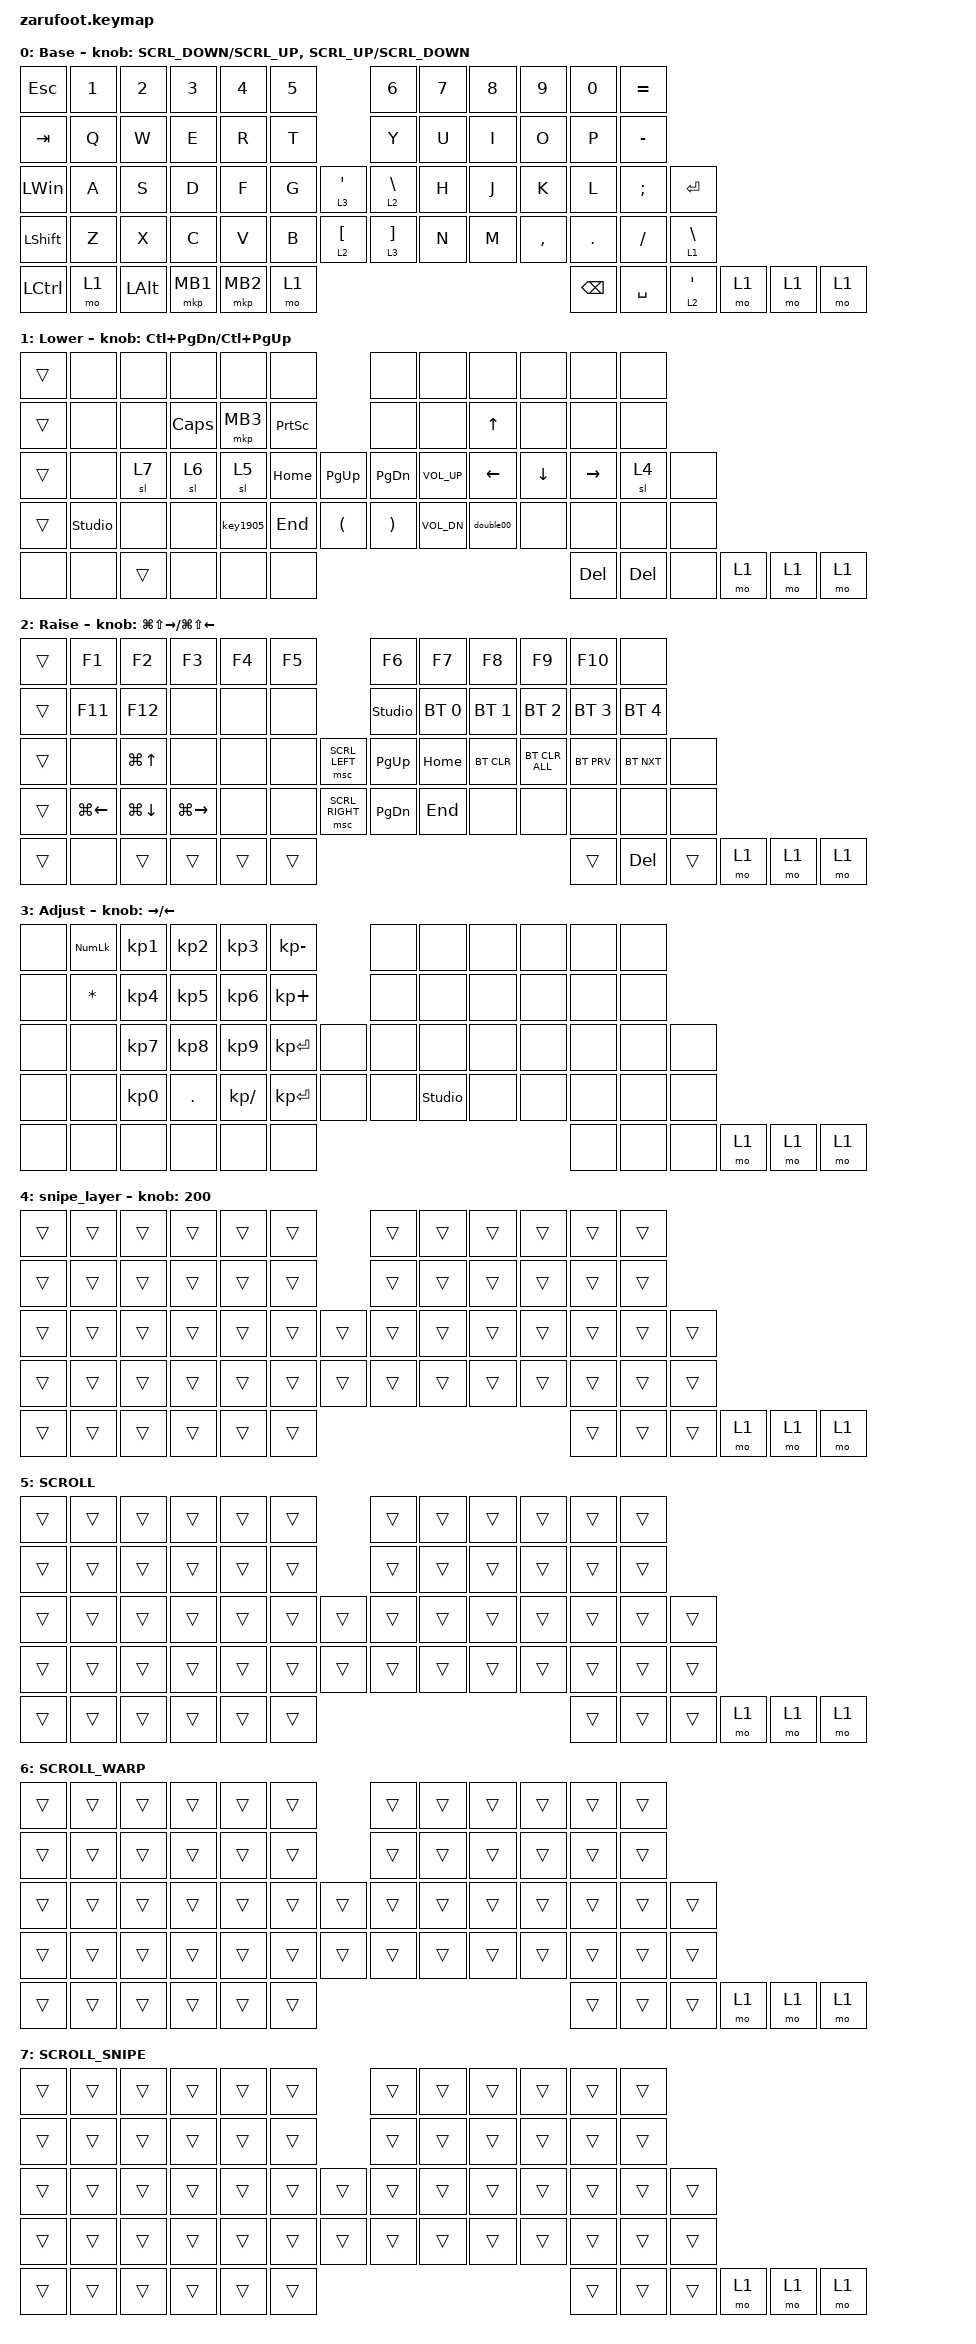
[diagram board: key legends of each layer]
#include <physical_layouts.dtsi>

#define ZMK_POINTING_DEFAULT_MOVE_VAL 800
#define ZMK_POINTING_DEFAULT_SCRL_VAL 120

#include <zephyr/dt-bindings/input/input-event-codes.h>
#include <input/processors.dtsi>
#include <behaviors.dtsi>
#include <dt-bindings/zmk/bt.h>
#include <dt-bindings/zmk/keys.h>
#include <dt-bindings/zmk/pointing.h>

#define BASE 0
#define SNIPE 4
#define SCROLL 5
#define SCROLL_WARP 6
#define SCROLL_SNIPE 7
&mmv {
    delay-ms = <0>;
    trigger-period-ms = <10>;
    time-to-max-speed-ms = <0>;
    acceleration-exponent = <1>;
};

&msc {
    delay-ms = <0>;
    trigger-period-ms = <10>;
    time-to-max-speed-ms = <0>;
    acceleration-exponent = <0>;
};

/ {
    input_processors {
        zip_wheel_scaler: zip_wheel_scaler {
            compatible = "zmk,input-processor-scaler";
            #input-processor-cells = <2>;
            type = <INPUT_EV_REL>;
            codes = <INPUT_REL_WHEEL>;
            track-remainders;
        };

        zip_hwheel_scaler: zip_hwheel_scaler {
            compatible = "zmk,input-processor-scaler";
            #input-processor-cells = <2>;
            type = <INPUT_EV_REL>;
            codes = <INPUT_REL_HWHEEL>;
            track-remainders;
        };

        /* --- 変更点 --- */
        // CONFIG_PMW3610_INVERT_SCROLL_X=y (水平スクロール反転) を
        // 実装するためのプロセッサーを追加
        zip_hwheel_invert: zip_hwheel_invert {
            compatible = "zmk,input-processor-invertor";
            #input-processor-cells = <0>;
            type = <INPUT_EV_REL>;
            codes = <INPUT_REL_HWHEEL>; // 水平ホイール(HWHEEL)を反転
        };
    };
};

&msc_input_listener {
    warp {
        layers = <SCROLL_WARP>;
        input-processors = <&zip_wheel_scaler 4 1>, <&zip_hwheel_scaler 4 1>;
    };

    precision {
        layers = <SCROLL_SNIPE>;
        input-processors = <&zip_wheel_scaler 1 4>, <&zip_hwheel_scaler 1 4>;
    };
};

&trackball_listener {
    scroller {
        layers = <SCROLL>;
        input-processors = 
            <&zip_xy_to_scroll_mapper>,
            <&zip_hwheel_invert>; /* --- 変更点: 水平反転を追加 --- */
    };

    scroller_warp {
        layers = <SCROLL_WARP>;
        input-processors =
            <&zip_xy_to_scroll_mapper>,
            <&zip_wheel_scaler 4 1>,
            <&zip_hwheel_scaler 4 1>,
            <&zip_hwheel_invert>; /* --- 変更点: 水平反転を追加 --- */
    };

    scroller_precision {
        layers = <SCROLL_SNIPE>;
        input-processors =
            <&zip_xy_to_scroll_mapper>,
            <&zip_wheel_scaler 1 4>,
            <&zip_hwheel_scaler 1 4>,
            <&zip_hwheel_invert>; /* --- 変更点: 水平反転を追加 --- */
    };
};

/ {
    behaviors {
        td0: tap_dance_0 {
            compatible = "zmk,behavior-tap-dance";
            #binding-cells = <0>;
            tapping-term-ms = <200>;
            bindings = <&mt LALT LANG2>, <&mo 2>, <&mo 0>;
        };

        td1: tap_dance_1 {
            compatible = "zmk,behavior-tap-dance";
            #binding-cells = <0>;
            tapping-term-ms = <200>;
            bindings = <&mt RCTL LANG1>, <&mo 2>, <&mo 0>;
        };

        rot_kp: sensor_rotate_kp {
            compatible = "zmk,behavior-sensor-rotate-var";
            #sensor-binding-cells = <2>;
            bindings = <&kp>, <&kp>;
        };

        mouse_click: mouse_button_kp {
            compatible = "zmk,behavior-sensor-rotate-var";
            #sensor-binding-cells = <2>;
            bindings = <&mkp>, <&mkp>;
        };

        mouse_mv: mouse_cursor_move {
            compatible = "zmk,behavior-sensor-rotate-var";
            #sensor-binding-cells = <2>;
            bindings = <&mmv>, <&mmv>;

            tap-ms = <10>;
        };

        mouse_scrl: mouse_wheel_scrl {
            compatible = "zmk,behavior-sensor-rotate-var";
            #sensor-binding-cells = <2>;
            bindings = <&msc>, <&msc>;

            tap-ms = <10>;
        };
    };
};

&sl { release-after-ms = <250>; }; // time needed for double click (for mkp_exit_AML)
/ {
    macros {
        // When in AML, move to default layer when key (except mouse button) pressed

        to_layer_0: to_layer_0 {
            compatible = "zmk,behavior-macro-one-param";
            #binding-cells = <1>;
            bindings = <&to 0 &macro_param_1to1 &kp MACRO_PLACEHOLDER>;
            label = "TO_layer_0";
        };

        // When LCLK pressed, exit AML (after 250ms cause by sticky layer)

        mkp_exit_AML: mkp_exit_AML {
            compatible = "zmk,behavior-macro-one-param";
            #binding-cells = <1>;
            bindings =
                <&macro_press>,
                <&macro_param_1to1 &mkp MACRO_PLACEHOLDER>,
                <&macro_pause_for_release>,
                <&macro_release>,
                <&macro_param_1to1 &mkp MACRO_PLACEHOLDER>,
                <&macro_tap>,
                <&sl 0>;

            label = "MKP_EXIT_AML";
        };

        // Support swapping into Scroll layer when AML is activated

        to_scroll_layer: to_scroll_layer {
            compatible = "zmk,behavior-macro";
            #binding-cells = <0>;
            bindings =
                <&to 4>,
                <&macro_press>,
                <&mo 4>,
                <&macro_pause_for_release>,
                <&macro_release>,
                <&mo 4>;
        };

        double00: double00 {
            compatible = "zmk,behavior-macro";
            #binding-cells = <0>;
            bindings = <&macro_tap>, <&kp N0 &kp N0>;

            label = "DOUBLE00";
            wait-ms = <0>;
            tap-ms = <0>;
        };

        key1905: key1905 {
            compatible = "zmk,behavior-macro";
            #binding-cells = <0>;
            bindings =
                <&macro_tap>,
                <&kp LC(V) &kp PLUS &kp N1 &kp N9 &kp DOT &kp N0 &kp N5 &kp STAR>;

            label = "KEY1905";
        };
    };
};

/ {
    keymap {
        compatible = "zmk,keymap";

        base_layer {
            display-name = "Base";
            sensor-bindings =
                <&mouse_scrl SCRL_DOWN SCRL_UP>,
                <&mouse_scrl SCRL_UP SCRL_DOWN>;

            bindings = <
&kp ESC      &kp N1  &kp N2  &kp N3       &kp N4    &kp N5                 &kp NUMBER_6       &kp N7     &kp N8  &kp N9     &kp N0   &kp EQUAL
&kp TAB      &kp Q   &kp W   &kp E        &kp R     &kp T                  &kp Y              &kp U      &kp I   &kp O      &kp P    &kp MINUS
&kp LEFT_WIN &kp A   &kp S   &kp D        &kp F     &kp G    &lt 3 SQT      &lt 2 BACKSLASH    &kp H      &kp J   &kp K      &kp L    &kp SEMI     &kp ENTER
&kp LSHFT    &kp Z   &kp X   &kp C        &kp V     &kp B    &lt 2 LEFT_BRACKET &lt 3 RIGHT_BRACKET  &kp N      &kp M   &kp COMMA  &kp DOT  &kp FSLH     &lt 1 BACKSLASH
&kp LCTRL           &mo 1   &kp LEFT_ALT &mkp MB1  &mkp MB2 &mo 1           &kp BACKSPACE      &kp SPACE                         &lt 2 SQT               &mo 1 &mo 1 &mo 1
            >;
        };

        layer_1 {
            display-name = "Lower";
            sensor-bindings = <&inc_dec_kp LC(PAGE_DOWN) LC(PAGE_UP)>;
            bindings = <
&trans  &none           &none  &none        &none     &none                 &none              &none           &none           &none           &none       &none
&trans  &none           &none  &kp CAPSLOCK &mkp MB3  &kp PRINTSCREEN       &none              &none           &kp UP_ARROW    &none           &none       &none
&trans  &none           &sl 7  &sl 6        &sl 5     &kp HOME     &kp PG_UP        &kp PAGE_DOWN    &kp C_VOL_UP  &kp LEFT        &kp DOWN_ARROW  &kp RIGHT &sl 4  &none
&trans  &studio_unlock  &none  &none        &key1905  &kp END      &kp LEFT_PARENTHESIS &kp RPAR         &kp C_VOL_DN  &double00       &none           &none       &none  &none
&none                 &none  &trans       &none     &none           &none                 &kp DEL            &kp DEL                           &none          &mo 1 &mo 1 &mo 1
            >;
        };

        layer_2 {
            display-name = "Raise";
            sensor-bindings = <&inc_dec_kp LG(LS(RIGHT)) LG(LS(LEFT))>;
            bindings = <
&trans  &kp F1            &kp F2            &kp F3             &kp F4  &kp F5            &kp F6           &kp F7       &kp F8       &kp F9       &kp F10       &none
&trans  &kp F11           &kp F12           &none              &none   &none             &studio_unlock   &bt BT_SEL 0 &bt BT_SEL 1 &bt BT_SEL 2 &bt BT_SEL 3  &bt BT_SEL 4
&trans  &none             &kp LG(UP_ARROW)  &none              &none   &none   &msc SCRL_LEFT  &kp PG_UP        &kp HOME     &bt BT_CLR   &bt BT_CLR_ALL &bt BT_PRV    &bt BT_NXT    &none
&trans  &kp LG(LEFT_ARROW)  &kp LG(DOWN_ARROW)  &kp LG(RIGHT_ARROW)  &none   &none   &msc SCRL_RIGHT &kp PG_DN        &kp END      &none        &none        &none         &none         &none
&trans                    &none             &trans             &trans  &trans  &trans       &trans           &kp DEL                                     &trans          &mo 1 &mo 1 &mo 1
            >;
        };

        layer_3 {
            display-name = "Adjust";
            sensor-bindings = <&inc_dec_kp RIGHT LEFT>;
            bindings = <
&none   &kp KP_NUMLOCK  &kp KP_N1  &kp KP_N2  &kp KP_N3    &kp KP_MINUS     &none  &none           &none  &none  &none  &none
&none   &kp ASTERISK    &kp KP_N4  &kp KP_N5  &kp KP_N6    &kp KP_PLUS      &none  &none           &none  &none  &none  &none
&none   &none           &kp KP_N7  &kp KP_N8  &kp KP_N9    &kp KP_ENTER  &none  &none  &none           &none  &none  &none  &none  &none
&none   &none           &kp KP_N0  &kp DOT    &kp KP_SLASH &kp KP_ENTER  &none  &none  &studio_unlock  &none  &none  &none  &none  &none
&none                 &none      &none      &none        &none        &none   &none  &none                                     &none          &mo 1 &mo 1 &mo 1
            >;
        };

        // Extra layer can be added in ZMK STUDIO

        /* --- 変更点: レイヤー名を SNPIE から snipe_layer に修正 --- */
        snipe_layer {
            /* --- 変更点: スナイプモード(低CPI)設定を追加 --- */
            // 元の CONFIG_PMW3610_SNIPE_CPI=200 を再現
            sensor-bindings = <&input_rel_cpi_set 200>;
            
            bindings = <
&trans  &trans  &trans  &trans  &trans  &trans         &trans  &trans  &trans  &trans  &trans  &trans
&trans  &trans  &trans  &trans  &trans  &trans         &trans  &trans  &trans  &trans  &trans  &trans
&trans  &trans  &trans  &trans  &trans  &trans  &trans  &trans  &trans  &trans  &trans  &trans  &trans  &trans
&trans  &trans  &trans  &trans  &trans  &trans  &trans  &trans  &trans  &trans  &trans  &trans  &trans  &trans
&trans          &trans  &trans  &trans  &trans  &trans  &trans  &trans                         &trans         &mo 1 &mo 1 &mo 1
            >;
        };

        SCROLL {
            // このレイヤーのスクロール動作は &trackball_listener で定義
            bindings = <
&trans  &trans  &trans  &trans  &trans  &trans         &trans  &trans  &trans  &trans  &trans  &trans
&trans  &trans  &trans  &trans  &trans  &trans         &trans  &trans  &trans  &trans  &trans  &trans
&trans  &trans  &trans  &trans  &trans  &trans  &trans  &trans  &trans  &trans  &trans  &trans  &trans  &trans
&trans  &trans  &trans  &trans  &trans  &trans  &trans  &trans  &trans  &trans  &trans  &trans  &trans  &trans
&trans          &trans  &trans  &trans  &trans  &trans  &trans  &trans                         &trans         &mo 1 &mo 1 &mo 1
            >;
        };

        SCROLL_WARP {
            // このレイヤーのスクロール動作は &trackball_listener で定義
            bindings = <
&trans  &trans  &trans  &trans  &trans  &trans         &trans  &trans  &trans  &trans  &trans  &trans
&trans  &trans  &trans  &trans  &trans  &trans         &trans  &trans  &trans  &trans  &trans  &trans
&trans  &trans  &trans  &trans  &trans  &trans  &trans  &trans  &trans  &trans  &trans  &trans  &trans  &trans
&trans  &trans  &trans  &trans  &trans  &trans  &trans  &trans  &trans  &trans  &trans  &trans  &trans  &trans
&trans          &trans  &trans  &trans  &trans  &trans  &trans  &trans                         &trans         &mo 1 &mo 1 &mo 1
            >;
        };

        SCROLL_SNIPE {
            // このレイヤーのスクロール動作は &trackball_listener で定義
            bindings = <
&trans  &trans  &trans  &trans  &trans  &trans         &trans  &trans  &trans  &trans  &trans  &trans
&trans  &trans  &trans  &trans  &trans  &trans         &trans  &trans  &trans  &trans  &trans  &trans
&trans  &trans  &trans  &trans  &trans  &trans  &trans  &trans  &trans  &trans  &trans  &trans  &trans  &trans
&trans  &trans  &trans  &trans  &trans  &trans  &trans  &trans  &trans  &trans  &trans  &trans  &trans  &trans
&trans          &trans  &trans  &trans  &trans  &trans  &trans  &trans                         &trans         &mo 1 &mo 1 &mo 1
            >;
        };
    };
};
